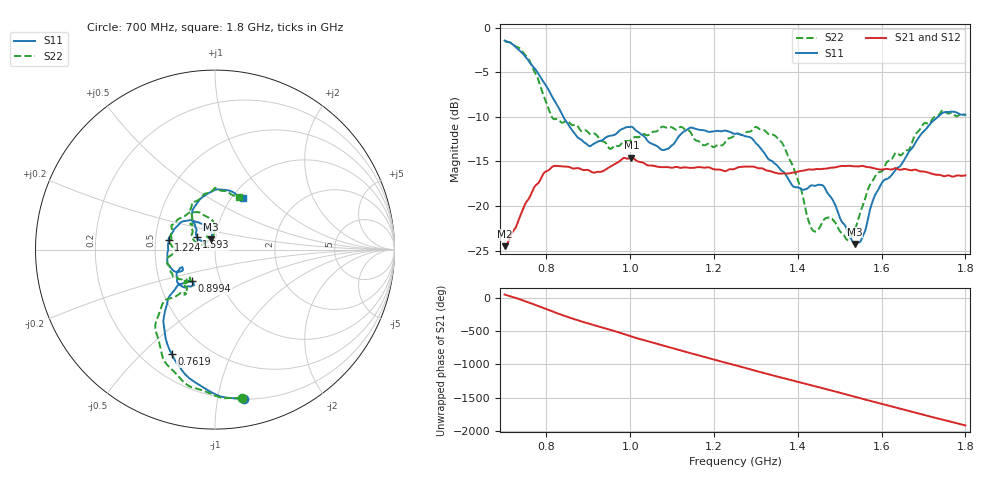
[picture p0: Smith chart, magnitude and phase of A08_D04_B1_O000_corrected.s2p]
! Created with skrf 1.9.0 (http://scikit-rf.org).
# Hz S RI R 50.0
!freq ReS11 ImS11 ReS21 ImS21 ReS12 ImS12 ReS22 ImS22
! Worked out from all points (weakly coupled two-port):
!   1601 points, 700 MHz to 1.8 GHz, reference 50 ohm
!   highest |S21| = -14.60 dB at 1.002 GHz (marker M1); lowest = -24.5 dB at 700.7 MHz (marker M2)
!   lowest |S11| = -24.3 dB at 1.535 GHz (marker M3), VSWR 1.13, Z = 47.4 + j5.37 ohm
!   |S11| at or under -10 dB: 840.2 MHz to 1.734 GHz (894.3 MHz wide, 69.5 % of centre)
!   |S22| runs from -23.9 to -1.5 dB; largest |S21 - S12| = 0.0035
!   S11 on the Smith chart (normalised r, x): 700 MHz: 0.20, -1.19; 761.9 MHz: 0.32, -0.62; 899.4 MHz: 0.73, -0.27; 1.224 GHz: 0.59, +0.07; 1.593 GHz: 0.81, +0.12; 1.8 GHz: 1.12, +0.72
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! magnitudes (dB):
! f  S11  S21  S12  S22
! 700 MHz  -1.4  -24.5  -24.3  -1.5
! 700.7 MHz  -1.4  -24.5  -24.2  -1.5
! 761.9 MHz  -4.0  -18.8  -18.7  -3.9
! 814.1 MHz  -7.8  -15.6  -15.6  -10.1
! 883.6 MHz  -12.6  -15.9  -15.8  -11.6
! 899.4 MHz  -13.2  -16.0  -16.0  -11.7
! 952.3 MHz  -12.1  -15.6  -15.6  -13.6
! 1.002 GHz  -11.1  -14.6  -14.7  -12.6
! 1.067 GHz  -13.4  -15.6  -15.6  -11.5
! 1.143 GHz  -11.2  -15.7  -15.7  -11.7
! 1.224 GHz  -11.6  -16.1  -16.1  -13.0
! 1.25 GHz  -11.9  -15.8  -15.7  -12.0
! 1.36 GHz  -16.0  -16.4  -16.4  -12.8
! 1.434 GHz  -17.7  -15.9  -15.9  -22.6
! 1.463 GHz  -17.9  -15.8  -15.8  -21.5
! 1.519 GHz  -22.8  -15.5  -15.5  -23.9
! 1.535 GHz  -24.3  -15.5  -15.6  -22.8
! 1.555 GHz  -23.4  -15.5  -15.5  -20.0
! 1.593 GHz  -18.1  -15.9  -15.9  -16.2
! 1.617 GHz  -16.9  -15.9  -15.8  -14.9
! 1.74 GHz  -9.8  -16.5  -16.5  -9.6
! 1.8 GHz  -9.8  -16.6  -16.6  -9.9
